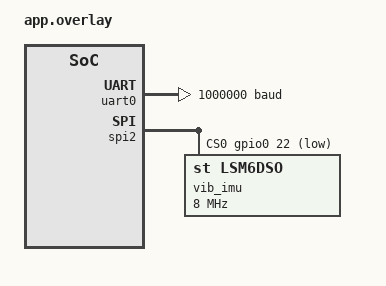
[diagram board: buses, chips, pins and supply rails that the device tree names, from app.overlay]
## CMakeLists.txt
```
# SPDX-License-Identifier: Apache-2.0
# Vibration bench rig for the nRF52 DK: docs/ble_gatt.md 4.5. Build from the repo root:
#   firmware/tests/fw.sh bench
cmake_minimum_required(VERSION 3.20.0)
find_package(Zephyr REQUIRED HINTS $ENV{ZEPHYR_BASE})
project(atrium_vib_bench)

set(FW ${CMAKE_CURRENT_SOURCE_DIR}/../..)
target_include_directories(app PRIVATE src ${FW}/src ${FW}/src/power)
target_sources(app PRIVATE
  src/main.c
  src/vib_spi.c
  ${FW}/src/vibcap.c
  ${FW}/src/power/modes.c
)
```

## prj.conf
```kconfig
# Vibration bench rig, nRF52 DK (docs/ble_gatt.md 4.5)
CONFIG_GPIO=y
CONFIG_SPI=y
# every transfer is 2 bytes or more, so nRF52832 anomaly 58 (one extra byte when RXD.MAXCNT is 1)
# cannot occur; Zephyr's NRF52_ANOMALY_58_WORKAROUND stays at its default (on) as well
CONFIG_SERIAL=y
CONFIG_UART_ASYNC_API=y
# the serial port carries only the banner, the packet lines and the stats line
CONFIG_CONSOLE=n
CONFIG_UART_CONSOLE=n
CONFIG_PRINTK=n
CONFIG_BOOT_BANNER=n
CONFIG_LOG=n
CONFIG_MAIN_STACK_SIZE=2048
```

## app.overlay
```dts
/*
 * Copyright (c) 2026 Het Bhavsar
 * SPDX-License-Identifier: Apache-2.0
 *
 * nRF52 DK (PCA10040): the LSM6DSOX adapter on the Arduino SPI pins, SPIM2 with EasyDMA at
 * 8 MHz (the nRF52832 SPIM's top rate; the chip allows 10 MHz), SPI mode 3, chip-select D10.
 * Wiring: docs/ble_gatt.md 4.5. The virtual COM port runs at 1 Mbaud, no flow control.
 */
&uart0 {
	current-speed = <1000000>;
};

&spi2 {
	compatible = "nordic,nrf-spim";
	status = "okay";
	cs-gpios = <&gpio0 22 GPIO_ACTIVE_LOW>; /* D10 */

	vib_imu: lsm6dsox@0 {
		compatible = "st,lsm6dso";
		reg = <0>;
		spi-max-frequency = <8000000>;
	};
};
```

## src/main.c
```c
/*
 * Copyright (c) 2026 Het Bhavsar
 * SPDX-License-Identifier: Apache-2.0
 *
 * Vibration bench rig (docs/ble_gatt.md 4.5): nRF52 DK, LSM6DSOX on SPIM2 at 8 MHz, printing
 * one Vibration Data packet per line, "0207 <hex>", on the J-Link virtual COM port at 1 Mbaud.
 * After the banner nothing else goes out until button 1 stops the capture and prints one
 * "stats" line. LED 1: streaming. LED 2: the FIFO filled at least once (a gap).
 */
#include <zephyr/kernel.h>
#include <zephyr/device.h>
#include <zephyr/drivers/gpio.h>
#include <zephyr/drivers/spi.h>
#include <zephyr/drivers/uart.h>
#include <zephyr/sys/atomic.h>

#include <stdio.h>
#include <string.h>

#include "vib_spi.h"

#define IMU_NODE DT_NODELABEL(vib_imu)
#define SPI_OP   (SPI_OP_MODE_MASTER | SPI_WORD_SET(8) | SPI_TRANSFER_MSB | SPI_MODE_CPOL | \
		  SPI_MODE_CPHA)

static const struct spi_dt_spec imu = SPI_DT_SPEC_GET(IMU_NODE, SPI_OP);
static const struct device *const uart = DEVICE_DT_GET(DT_CHOSEN(zephyr_console));
static const struct gpio_dt_spec led_run = GPIO_DT_SPEC_GET(DT_ALIAS(led0), gpios);
static const struct gpio_dt_spec led_gap = GPIO_DT_SPEC_GET(DT_ALIAS(led1), gpios);
static const struct gpio_dt_spec btn_stop = GPIO_DT_SPEC_GET(DT_ALIAS(sw0), gpios);

/* Line buffers: 16 x 494 B, about 280 ms of output at 58 lines/s. A line that finds no free
 * buffer is dropped; the decoder sees it as a jump in the sample index. */
#define N_LINES 16
static char lines[N_LINES][VIB_LINE_MAX];
static size_t line_len[N_LINES];
K_MSGQ_DEFINE(free_q, sizeof(uint8_t), N_LINES, 1);
K_MSGQ_DEFINE(ready_q, sizeof(uint8_t), N_LINES, 1);
static K_SEM_DEFINE(tx_done, 0, 1);
static uint32_t dropped;
static uint8_t free_min = N_LINES;
static atomic_t stop;

static struct vib_spi vs;

static int xfer(void *ctx, const uint8_t *tx, uint8_t *rx, size_t len)
{
	const struct spi_buf tb = {.buf = (void *)tx, .len = len};
	const struct spi_buf rb = {.buf = rx, .len = len};
	const struct spi_buf_set ts = {.buffers = &tb, .count = 1};
	const struct spi_buf_set rs = {.buffers = &rb, .count = 1};

	ARG_UNUSED(ctx);
	return spi_transceive_dt(&imu, &ts, &rs);
}

static uint64_t now_us(void *ctx)
{
	ARG_UNUSED(ctx);
	return k_ticks_to_us_floor64(k_uptime_ticks());
}

static void uart_cb(const struct device *dev, struct uart_event *evt, void *user)
{
	ARG_UNUSED(dev);
	ARG_UNUSED(user);
	if (evt->type == UART_TX_DONE || evt->type == UART_TX_ABORTED) {
		k_sem_give(&tx_done);
	}
}

static void send_text(const char *s, size_t n)
{
	if (uart_tx(uart, (const uint8_t *)s, n, SYS_FOREVER_US) == 0) {
		k_sem_take(&tx_done, K_FOREVER);
	}
}

/* Lower priority than the drain: sends the queued lines one DMA transfer each. */
static void tx_thread(void *a, void *b, void *c)
{
	ARG_UNUSED(a);
	ARG_UNUSED(b);
	ARG_UNUSED(c);
	for (;;) {
		uint8_t i;

		k_msgq_get(&ready_q, &i, K_FOREVER);
		send_text(lines[i], line_len[i]);
		k_msgq_put(&free_q, &i, K_NO_WAIT);
	}
}

K_THREAD_DEFINE(tx_tid, 1024, tx_thread, NULL, NULL, NULL, 7, 0, 0);

static void emit(const uint8_t *pkt, size_t len, void *user)
{
	uint8_t i;

	ARG_UNUSED(user);
	if (k_msgq_get(&free_q, &i, K_NO_WAIT)) {
		dropped++;
		return;
	}
	line_len[i] = vib_line(pkt, len, lines[i]);
	k_msgq_put(&ready_q, &i, K_NO_WAIT);
	uint8_t f = (uint8_t)k_msgq_num_used_get(&free_q);

	free_min = MIN(free_min, f);
}

static struct gpio_callback btn_cb;

static void on_button(const struct device *dev, struct gpio_callback *cb, uint32_t pins)
{
	ARG_UNUSED(dev);
	ARG_UNUSED(cb);
	ARG_UNUSED(pins);
	atomic_set(&stop, 1);
}

static void say(const char *s)
{
	send_text(s, strlen(s));
}

static void halt(const char *why)
{
	say(why);
	for (;;) {
		gpio_pin_toggle_dt(&led_gap);
		k_msleep(200);
	}
}

int main(void)
{
	static char msg[200];
	uint8_t id = 0;

	for (uint8_t i = 0; i < N_LINES; i++) {
		k_msgq_put(&free_q, &i, K_NO_WAIT);
	}
	gpio_pin_configure_dt(&led_run, GPIO_OUTPUT_INACTIVE);
	gpio_pin_configure_dt(&led_gap, GPIO_OUTPUT_INACTIVE);
	gpio_pin_configure_dt(&btn_stop, GPIO_INPUT);
	gpio_pin_interrupt_configure_dt(&btn_stop, GPIO_INT_EDGE_TO_ACTIVE);
	gpio_init_callback(&btn_cb, on_button, BIT(btn_stop.pin));
	gpio_add_callback(btn_stop.port, &btn_cb);
	uart_callback_set(uart, uart_cb, NULL);

	vs.xfer = xfer;
	vs.now_us = now_us;
	k_msleep(20); /* the chip's boot time, 10 ms [DS12814] */
	if (!spi_is_ready_dt(&imu)) {
		halt("vib_bench: SPI not ready\n");
	}
	(void)vib_spi_write(&vs, VIB_SPI_CTRL3_C, VIB_SPI_CTRL3_RESET);
	k_msleep(5);
	(void)vib_spi_read(&vs, VIB_SPI_WHO_AM_I, &id, 1);
	if (id != VIB_SPI_WHO_AM_I_ID) {
		snprintf(msg, sizeof(msg),
			 "vib_bench: WHO_AM_I 0x%02x, expected 0x6c: check wiring and power\n", id);
		halt(msg);
	}
	snprintf(msg, sizeof(msg),
		 "vib_bench: LSM6DSOX on SPI %u Hz, 6667 Hz, +-2 g, chip +Z, mode 11 packets "
		 "follow as '0207 <hex>'; button 1 stops\n",
		 (unsigned int)imu.config.frequency);
	say(msg);
	if (vib_spi_start(&vs)) {
		halt("vib_bench: setup writes failed\n");
	}
	gpio_pin_set_dt(&led_run, 1);

	while (!atomic_get(&stop)) {
		int n = vib_spi_poll(&vs, emit, NULL);

		if (vs.st.gaps) {
			gpio_pin_set_dt(&led_gap, 1);
		}
		if (n <= 0) {
			k_usleep(1000); /* under 7 new words; the watermark is 36 (5.4 ms) */
		}
	}

	/* stop: accelerometer off, FIFO to bypass, let the queued lines out, then the stats */
	struct vib_reg w[VIB_MAX_WRITES];
	size_t k = vib_transition(MODE_RESEARCH_VIB6K7, MODE_FULL, w);

	for (size_t i = 0; i < k; i++) {
		(void)vib_spi_write(&vs, w[i].reg, w[i].val);
	}
	gpio_pin_set_dt(&led_run, 0);
	while (k_msgq_num_used_get(&free_q) < N_LINES) {
		k_msleep(10);
	}
	snprintf(msg, sizeof(msg),
		 "stats samples %u bursts %u polls %u max_fifo_words %u gaps %u spi_errors %u "
		 "lines_dropped %u min_free_lines %u\n",
		 (unsigned int)vs.st.words, (unsigned int)vs.st.bursts,
		 (unsigned int)vs.st.polls, (unsigned int)vs.st.max_level,
		 (unsigned int)vs.st.gaps, (unsigned int)vs.st.errors, (unsigned int)dropped,
		 (unsigned int)free_min);
	say(msg);
	return 0;
}
```

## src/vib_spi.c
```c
/*
 * Copyright (c) 2026 Het Bhavsar
 * SPDX-License-Identifier: Apache-2.0
 */
#include "vib_spi.h"

#include <string.h>

int vib_spi_write(struct vib_spi *s, uint8_t reg, uint8_t val)
{
	s->tx[0] = reg & 0x7F;
	s->tx[1] = val;
	int r = s->xfer(s->ctx, s->tx, s->rx, 2);

	s->st.errors += r != 0;
	return r;
}

int vib_spi_read(struct vib_spi *s, uint8_t reg, uint8_t *out, size_t n)
{
	if (n == 0 || n + 1 > VIB_SPI_BUF) {
		return -1;
	}
	memset(s->tx, 0, n + 1);
	s->tx[0] = VIB_SPI_READ | reg;
	int r = s->xfer(s->ctx, s->tx, s->rx, n + 1);

	s->st.errors += r != 0;
	if (r == 0 && out != s->rx + 1) {
		memcpy(out, s->rx + 1, n);
	}
	return r;
}

int vib_spi_probe(struct vib_spi *s)
{
	uint8_t id = 0;

	if (vib_spi_read(s, VIB_SPI_WHO_AM_I, &id, 1)) {
		return -1;
	}
	return id == VIB_SPI_WHO_AM_I_ID ? 0 : -2;
}

int vib_spi_start(struct vib_spi *s)
{
	struct vib_reg w[VIB_MAX_WRITES];
	size_t n = vib_transition(MODE_FULL, MODE_RESEARCH_VIB6K7, w);
	int ret = 0;

	ret |= vib_spi_write(s, VIB_SPI_CTRL4_C, VIB_SPI_CTRL4_RUN);
	ret |= vib_spi_write(s, VIB_SPI_CTRL3_C, VIB_SPI_CTRL3_RUN);
	for (size_t i = 0; i < n; i++) {
		ret |= vib_spi_write(s, w[i].reg, w[i].val);
	}
	memset(&s->st, 0, sizeof(s->st));
	s->stopped = false;
	vib_cap_start(&s->cap, MODE_RESEARCH_VIB6K7, VIB_SPI_AXIS, VIB_SPI_NEG, VIB_MAX_PKT);
	return ret ? -1 : 0;
}

int vib_spi_poll(struct vib_spi *s, vib_emit_t emit, void *user)
{
	uint8_t st[2];

	if (vib_spi_read(s, VIB_REG_FIFO_STATUS1, st, 2)) {
		return -1;
	}
	uint64_t t_us = s->now_us(s->ctx);
	struct vib_status fs = vib_parse_status(st);
	size_t n = fs.level < VIB_BURST_WORDS ? fs.level : VIB_BURST_WORDS;
	int got = 0;

	s->st.polls++;
	if (fs.level > s->st.max_level) {
		s->st.max_level = fs.level;
	}
	s->stopped |= fs.stopped;
	size_t n_read = fs.wtm || s->stopped ? n : 0;
	/* a stopped FIFO's words date from when it filled, not from now */
	uint64_t t_new = vib_cap_clock(&s->cap, &fs, s->stopped, n_read, t_us);

	if (n_read) {
		if (vib_spi_read(s, VIB_REG_FIFO_OUT, s->rx + 1, n * VIB_WORD)) {
			return -1;
		}
		vib_cap_burst(&s->cap, s->rx + 1, n, fs.level, t_new, emit, user);
		s->st.bursts++;
		s->st.words += n;
		got = (int)n;
	}
	if (s->stopped && fs.level <= n) {
		struct vib_reg w[2];
		size_t k = vib_restart(w);

		for (size_t i = 0; i < k; i++) {
			(void)vib_spi_write(s, w[i].reg, w[i].val);
		}
		vib_cap_gap(&s->cap, emit, user);
		s->st.gaps++;
		s->stopped = false;
	}
	return got;
}

size_t vib_line(const uint8_t *pkt, size_t len, char *out)
{
	static const char hex[] = "0123456789abcdef";
	size_t k = 0;

	memcpy(out, "0207 ", 5);
	k = 5;
	for (size_t i = 0; i < len; i++) {
		out[k++] = hex[pkt[i] >> 4];
		out[k++] = hex[pkt[i] & 0x0F];
	}
	out[k++] = '\n';
	return k;
}
```

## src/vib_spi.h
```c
/*
 * Copyright (c) 2026 Het Bhavsar
 * SPDX-License-Identifier: Apache-2.0
 *
 * Vibration bench rig core: the LSM6DSOX on SPI, set up as mode 11 (vibcap.h: 6667 Hz,
 * high-performance, +-2 g, LPF2 off, accelerometer-only FIFO), and one drain step that turns
 * FIFO bursts into Vibration Data packets with vibcap.c unchanged. Plain C over a transfer
 * callback, so the host tests run it against a simulated chip with SPI timing. The Zephyr
 * main (main.c) supplies SPI, the clock and the serial port. docs/ble_gatt.md 4.5.
 */
#ifndef ATRIUM_VIB_SPI_H_
#define ATRIUM_VIB_SPI_H_

#include <stdbool.h>
#include <stddef.h>
#include <stdint.h>

#include "vibcap.h"

#define VIB_SPI_READ        0x80 /* first byte: bit 7 set to read, 6:0 the register */
#define VIB_SPI_WHO_AM_I    0x0F
#define VIB_SPI_WHO_AM_I_ID 0x6C
#define VIB_SPI_CTRL3_C     0x12 /* BOOT[7] BDU[6] ... IF_INC[2] SW_RESET[0] */
#define VIB_SPI_CTRL4_C     0x13 /* I2C_disable[2] */
#define VIB_SPI_CTRL3_RESET 0x01
#define VIB_SPI_CTRL3_RUN   0x04 /* IF_INC: the burst read walks the FIFO output registers */
#define VIB_SPI_CTRL4_RUN   0x04 /* I2C off: SPI only, so SDA/SCL activity cannot confuse it */

/* the pod's axis rule (atrium_pod.dts imu-to-pod, pod z row 0 0 1): chip +Z, not negated */
#define VIB_SPI_AXIS 2
#define VIB_SPI_NEG  false

/* Burst: the address byte and 36 words, 253 B, under the nRF52832 SPIM's 255-byte MAXCNT.
 * Every transfer is 2 bytes or more (nRF52832 anomaly 58 needs RXD.MAXCNT 1 to clock a byte
 * extra). */
#define VIB_SPI_BUF (1 + VIB_BURST_WORDS * VIB_WORD)

/* "0207 ", two hex digits per byte, "\n" */
#define VIB_LINE_MAX (5 + 2 * VIB_MAX_PKT + 1)

/* Full-duplex transfer of `len` bytes under one chip-select; 0 or a negative error. */
typedef int (*vib_spi_xfer_t)(void *ctx, const uint8_t *tx, uint8_t *rx, size_t len);
typedef uint64_t (*vib_spi_now_t)(void *ctx);

struct vib_spi_stats {
	uint32_t polls;     /* status reads */
	uint32_t bursts;    /* FIFO reads */
	uint32_t words;     /* FIFO words read */
	uint32_t gaps;      /* times the FIFO filled and restarted */
	uint32_t errors;    /* failed transfers */
	uint16_t max_level; /* most unread words seen at a status read */
};

struct vib_spi {
	vib_spi_xfer_t xfer;
	vib_spi_now_t now_us;
	void *ctx;
	struct vib_cap cap;
	struct vib_spi_stats st;
	bool stopped;
	uint8_t tx[VIB_SPI_BUF];
	uint8_t rx[VIB_SPI_BUF];
};

int vib_spi_write(struct vib_spi *s, uint8_t reg, uint8_t val);
int vib_spi_read(struct vib_spi *s, uint8_t reg, uint8_t *out, size_t n);

/* Before the setup: 0 when WHO_AM_I reads 0x6C. */
int vib_spi_probe(struct vib_spi *s);

/*
 * Mode 11 from a reset chip: I2C off, auto-increment on, then vib_transition()'s entry writes.
 * Starts the capture: sample index 0, sequence 0, 115 samples a packet.
 */
int vib_spi_start(struct vib_spi *s);

/*
 * One drain step, as the pod's (hw/sensors.c): read FIFO_STATUS1/2; with the watermark up, or
 * once the FIFO has stopped full, read up to 36 words into vib_cap_burst(); after emptying a
 * stopped FIFO, restart it and flag the gap. Returns the words read (0: nothing to do yet) or
 * a negative error. Full packets go to `emit`.
 */
int vib_spi_poll(struct vib_spi *s, vib_emit_t emit, void *user);

/* "0207 <lowercase hex>\n" for one packet; returns the length (no NUL is written). */
size_t vib_line(const uint8_t *pkt, size_t len, char *out);

#endif /* ATRIUM_VIB_SPI_H_ */
```
